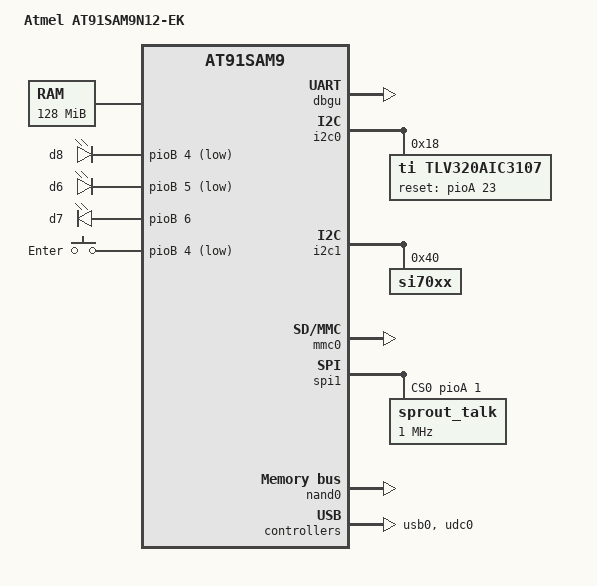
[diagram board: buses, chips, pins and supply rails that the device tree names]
/*
 * at91sam9n12ek.dts - Device Tree file for AT91SAM9N12-EK board
 *
 *  Copyright (C) 2012 Atmel,
 *                2012 Hong Xu <hong.xu@atmel.com>
 *
 * Licensed under GPLv2 or later.
 */
/dts-v1/;
#include "at91sam9n12.dtsi"

/ {
	model = "Atmel AT91SAM9N12-EK";
	compatible = "atmel,at91sam9n12ek", "atmel,at91sam9n12", "atmel,at91sam9";

	chosen {
		bootargs = "console=ttyS0,115200 i2c_bus=1,100 root=/dev/mtdblock1 rw rootfstype=jffs2";
	};

	memory {
		reg = <0x20000000 0x8000000>;
	};

	clocks {
		#address-cells = <1>;
		#size-cells = <1>;
		ranges;

		main_clock: clock@0 {
			compatible = "atmel,osc", "fixed-clock";
			clock-frequency = <16000000>;
		};
	};

	ahb {
		apb {
			dbgu: serial@fffff200 {
				status = "okay";
			};

			i2c0: i2c@f8010000 {
				status = "okay";
				tlv320aic3107: tlv320aic3x@18 {
					compatible = "ti,tlv320aic3107";
					reg = <0x18>;
					gpio-reset = <&pioA 23 GPIO_ACTIVE_HIGH>;
					ai3x-micbias-vg = <2>;
				};
			};

			i2c1: i2c@f8014000 {
				status = "okay";
				dma-names = "";	/* Disable DMA for I2C1 so that the audio chip can use it instead */
				si70xx@40 {
					compatible = "si70xx";
					reg = <0x40>;
				};
			};

			mmc0: mmc@f0008000 {
				pinctrl-0 = <
					&pinctrl_board_mmc0
					&pinctrl_mmc0_slot0_clk_cmd_dat0
					&pinctrl_mmc0_slot0_dat1_3>;
				status = "okay";
				slot@0 {
					reg = <0>;
					bus-width = <4>;
					cd-gpios = <0>;
				};
			};

			pinctrl@fffff400 {
				board {
					pinctrl_pck0_as_mck: pck0_as_mck {
						atmel,pins =
							<AT91_PIOB 10 AT91_PERIPH_B AT91_PINCTRL_NONE>;	/* PB10 periph B */
					};
				};

				mmc0 {
					pinctrl_board_mmc0: mmc0-board {
						atmel,pins =
							<AT91_PIOA 7 AT91_PERIPH_GPIO AT91_PINCTRL_PULL_UP_DEGLITCH>;	/* PA7 gpio CD pin pull up and deglitch */
					};
				};
			};

			ssc0: ssc@f0010000 {
				status = "okay";
			};

			spi0: spi@f0000000 {
				status = "disabled";
				cs-gpios = <&pioA 14 0>, <0>, <0>, <0>;
				m25p80@0 {
					compatible = "atmel,at25df321a";
					spi-max-frequency = <50000000>;
					reg = <0>;
				};
			};

			spi1: spi@f0004000 {
				status = "okay";
				cs-gpios = <&pioA 1 0>, <0>, <0>, <0>;
				sprout_talk@0 {
					compatible = "sprout_talk";
					spi-max-frequency = <1000000>;
					reg = <0>;
				};
			};

			watchdog@fffffe40 {
				status = "okay";
			};
		};

		nand0: nand@40000000 {
			nand-bus-width = <8>;
			nand-ecc-mode = "hw";
			atmel,has-pmecc;
			atmel,pmecc-cap = <2>;
			atmel,pmecc-sector-size = <512>;
			nand-on-flash-bbt;
			status = "okay";
		};

		usb0: ohci@00500000 {
			num-ports = <2>;
			atmel,vbus-gpio = <
				0
				&pioB 7 GPIO_ACTIVE_LOW
			>;
			status = "okay";
		};

		udc0: gadget@f803c000 {
			atmel,vbus-gpio = <&pioB 16 GPIO_ACTIVE_HIGH>;
			status = "okay";
		};
	};

	i2c@0 {
		status = "disabled";
	};

	i2c@1 {
		status = "disabled";
	};

	leds {
		compatible = "gpio-leds";

		d8 {
			label = "d8";
			gpios = <&pioB 4 GPIO_ACTIVE_LOW>;
			linux,default-trigger = "mmc0";
		};

		d9 {
			label = "d6";
			gpios = <&pioB 5 GPIO_ACTIVE_LOW>;
			linux,default-trigger = "nand-disk";
		};

		d10 {
			label = "d7";
			gpios = <&pioB 6 GPIO_ACTIVE_HIGH>;
			linux,default-trigger = "heartbeat";
		};
	};

	gpio_keys {
		compatible = "gpio-keys";

		enter {
			label = "Enter";
			gpios = <&pioB 4 GPIO_ACTIVE_LOW>;
			linux,code = <28>;
			gpio-key,wakeup;
		};
	};

	sound {
		compatible = "atmel,asoc-tlv320aic3107";
		pinctrl-names = "default";
		pinctrl-0 = <&pinctrl_pck0_as_mck>;

		atmel,model = "tlv320aic3x";
		atmel,ssc-controller = <&ssc0>;
		atmel,audio-codec = <&tlv320aic3107>;

		atmel,audio-routing =
			"Left Class-D Out", "SPOP",
			"Left Class-D Out", "SPOM",
			"Left Class-D Out", "Front Left",
			"LINE1L", "Left Capture";
	};
};

